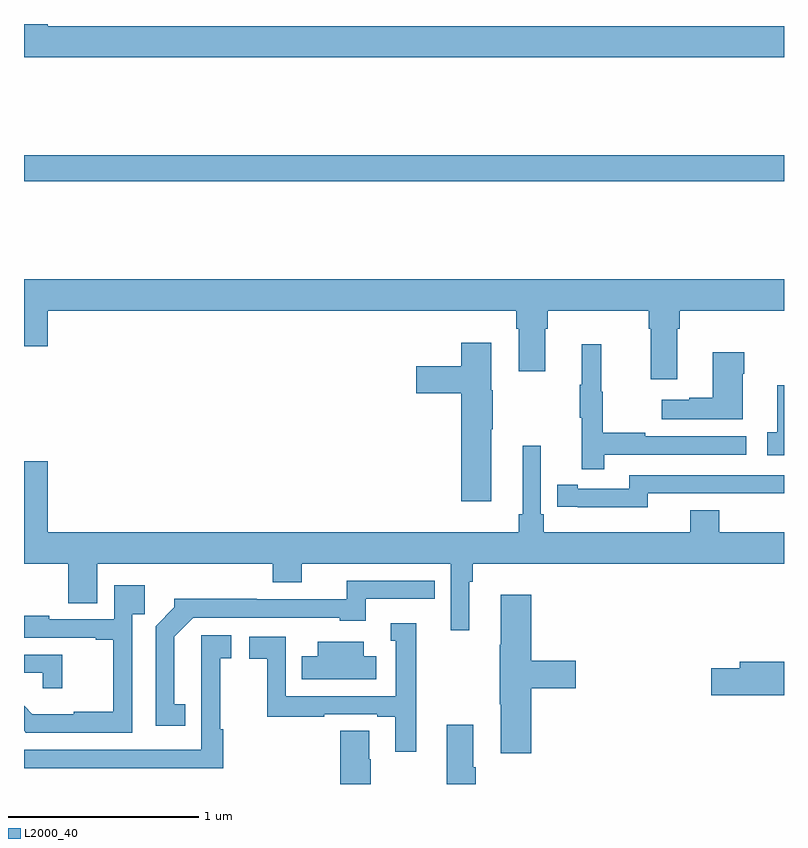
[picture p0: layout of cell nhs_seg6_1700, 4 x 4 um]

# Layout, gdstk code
import gdstk
lib = gdstk.Library(unit=1e-6, precision=1e-09)
def R(c, l, rs):  # rectangles x0, y0, x1, y1
    for r in rs: c.add(gdstk.rectangle(r[:2], r[2:], *l))
def P(c, l, *ps):  # polygons
    for p in ps: c.add(gdstk.Polygon(p, *l))
L2000_40 = (2000, 40)

nhs_seg6_1700 = lib.new_cell('nhs_seg6_1700')
R(nhs_seg6_1700, L2000_40, [(213,958.672,217,958.808)])
P(nhs_seg6_1700, L2000_40, [(217,959.488),(213.124,959.488),(213.124,959.5),(213,959.5),(213,959.324),(217,959.324)],
  [(216.439,957.896),(216.452,957.896),(216.452,957.992),(217,957.992),(217,958.156),(213,958.156),(213,957.804),(213.124,957.804),(213.124,957.992),(215.591,957.992),(215.591,957.896),(215.603,957.896),(215.603,957.672),(215.743,957.672),(215.743,957.896),(215.756,957.896),(215.756,957.992),(216.287,957.992),(216.287,957.896),(216.299,957.896),(216.299,957.63),(216.439,957.63)],
  [(215.458,957.367),(215.466,957.367),(215.466,957.573),(215.458,957.573),(215.458,957.823),(215.3,957.823),(215.3,957.699),(215.064,957.699),(215.064,957.557),(215.3,957.557),(215.3,956.988),(215.458,956.988)],
  [(216.053,957.234),(216.802,957.234),(216.802,957.33),(216.269,957.33),(216.269,957.35),(216.046,957.35),(216.046,957.564),(216.038,957.564),(216.038,957.814),(215.936,957.814),(215.936,957.601),(215.925,957.601),(215.925,957.427),(215.936,957.427),(215.936,957.156),(216.053,957.156)],
  [(216.784,957.659),(216.792,957.659),(216.792,957.772),(216.626,957.772),(216.626,957.533),(216.5,957.533),(216.5,957.523),(216.357,957.523),(216.357,957.419),(216.784,957.419)],
  [(217,957.598),(216.965,957.598),(216.965,957.351),(216.912,957.351),(216.912,957.231),(217,957.231)],
  [(215.344,956.564),(215.363,956.564),(215.363,956.66),(217,956.66),(217,956.824),(216.659,956.824),(216.659,956.941),(216.506,956.941),(216.506,956.824),(215.735,956.824),(215.735,956.92),(215.721,956.92),(215.721,957.28),(215.624,957.28),(215.624,956.92),(215.605,956.92),(215.605,956.824),(213.124,956.824),(213.124,957.199),(213,957.199),(213,956.66),(213.233,956.66),(213.233,956.452),(213.385,956.452),(213.385,956.66),(214.31,956.66),(214.31,956.561),(214.462,956.561),(214.462,956.66),(215.247,956.66),(215.247,956.31),(215.344,956.31)],
  [(216.282,957.03),(216.742,957.03),(216.742,957.029),(217,957.029),(217,957.126),(216.186,957.126),(216.186,957.054),(215.914,957.054),(215.914,957.074),(215.806,957.074),(215.806,956.958),(215.914,956.958),(215.914,956.957),(216.282,956.957)],
  [(213.848,955.919),(213.79,955.919),(213.79,956.275),(213.891,956.376),(214.662,956.376),(214.662,956.36),(214.798,956.36),(214.798,956.475),(215.162,956.475),(215.162,956.571),(214.699,956.571),(214.699,956.472),(214.226,956.472),(214.226,956.474),(213.792,956.474),(213.792,956.429),(213.693,956.33),(213.693,955.806),(213.848,955.806)],
  [(213.57,956.393),(213.635,956.393),(213.635,956.545),(213.474,956.545),(213.474,956.367),(213.133,956.367),(213.133,956.386),(213,956.386),(213,956.271),(213.377,956.271),(213.377,956.259),(213.469,956.259),(213.469,955.879),(213.263,955.879),(213.263,955.867),(213.044,955.867),(213,955.911),(213,955.779),(213.009,955.77),(213.57,955.77)],
  [(215.669,956.003),(215.905,956.003),(215.905,956.15),(215.669,956.15),(215.669,956.497),(215.51,956.497),(215.51,956.233),(215.503,956.233),(215.503,955.919),(215.51,955.919),(215.51,955.662),(215.669,955.662)],
  [(215.065,956.347),(214.931,956.347),(214.931,956.253),(214.956,956.253),(214.956,955.962),(214.377,955.962),(214.377,956.274),(214.185,956.274),(214.185,956.158),(214.279,956.158),(214.279,955.854),(214.58,955.854),(214.58,955.866),(214.859,955.866),(214.859,955.854),(214.955,955.854),(214.955,955.671),(215.065,955.671)],
  [(214.049,955.787),(214.032,955.787),(214.032,956.163),(214.09,956.163),(214.09,956.284),(213.932,956.284),(213.932,956.008),(213.933,956.008),(213.933,955.68),(213,955.68),(213,955.584),(214.049,955.584)],
  [(214.855,956.173),(214.789,956.173),(214.789,956.248),(214.547,956.248),(214.547,956.173),(214.462,956.173),(214.462,956.051),(214.855,956.051)],
  [(213.2,956.181),(213,956.181),(213,956.085),(213.099,956.085),(213.099,956.004),(213.2,956.004)],
  [(217,956.144),(216.767,956.144),(216.767,956.108),(216.618,956.108),(216.618,955.966),(217,955.966)],
  [(215.378,955.588),(215.365,955.588),(215.365,955.813),(215.225,955.813),(215.225,955.5),(215.378,955.5)],
  [(214.824,955.631),(214.816,955.631),(214.816,955.781),(214.664,955.781),(214.664,955.5),(214.824,955.5)])

lib.write_gds('nhs_seg6_1700.gds')
